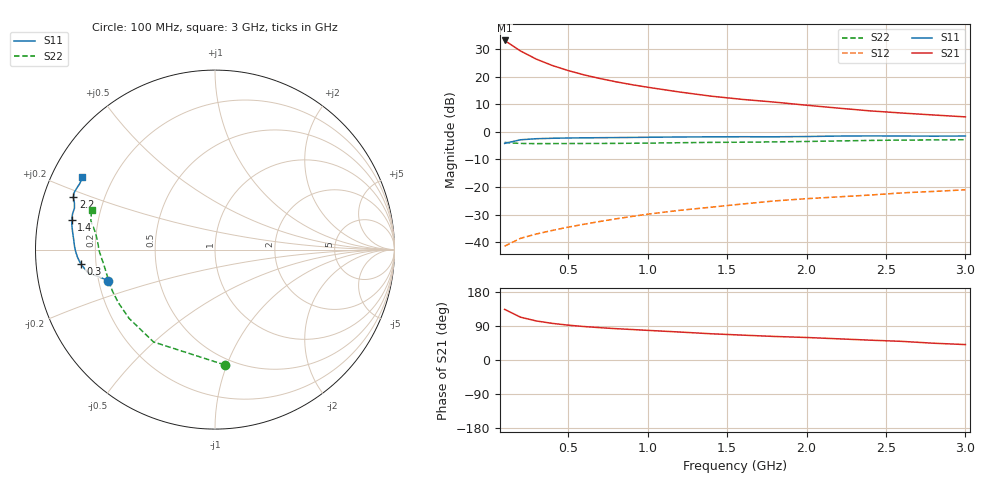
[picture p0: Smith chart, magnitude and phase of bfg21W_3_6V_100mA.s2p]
! Filename: 3_6100bfg21.001
! Title: BFG21W
! Bias: Vce=3.6V; Ic=100mA
! Company: Philips Semiconductors NL
! User: Quality&Reliability T&D
! Measure time: 10 Nov 1999 / 11:44:24
#  MHz  S  MA  R 50
! Freq  S11  S21  S12  S22  :
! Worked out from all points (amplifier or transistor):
!   20 points, 100 MHz to 3 GHz, reference 50 ohm
!   highest |S21| = 33.2 dB at 100 MHz (marker M1)
!   |S21| within 3 dB of that: start of sweep to 178.6 MHz
!   unconditionally stable (mu >= 1): 680.8 MHz to end of sweep
!   at 400 MHz: K = 0.87, MSG = 29.9 dB, |S12| = -35.8 dB
!   at 1.2 GHz: K = 1.06, MAG = 20.0 dB, |S12| = -28.5 dB
!   at 3 GHz: K = 1.05, MAG = 11.9 dB, |S12| = -21.0 dB
!   S11 on the Smith chart (normalised r, x): 100 MHz: 0.24, -0.13; 300 MHz: 0.14, -0.05; 1.4 GHz: 0.10, +0.10; 2.2 GHz: 0.09, +0.18; 3 GHz: 0.09, +0.25
100  0.6186 -163.8  45.7 133.7  0.00845 53.8  0.6444 -85.2
200  0.7205 -169.8  29.45 113.0  0.01173 50.4  0.618 -123.6
300  0.753 -174.0  20.91 103.0  0.01405 53.2  0.6132 -141.4
400  0.7671 -176.8  16.06 96.7  0.0163 56.8  0.6146 -151.3
500  0.7761 -179.1  12.99 92.0  0.01871 59.8  0.6161 -157.6
600  0.7819 179.0  10.85 88.3  0.02112 62.4  0.6172 -162.1
700  0.7859 177.3  9.315 85.3  0.02373 64.5  0.6181 -165.5
800  0.7898 175.8  8.131 82.7  0.02645 66.4  0.6198 -168.4
900  0.7946 174.2  7.209 80.5  0.02922 68.1  0.6229 -170.9
1000  0.7999 172.8  6.471 78.2  0.03218 69.1  0.6269 -173.1
1200  0.8093 170.2  5.308 73.8  0.03772 70.4  0.6369 -176.7
1400  0.8152 168.2  4.454 69.2  0.04309 71.0  0.646 -179.6
1600  0.8183 166.0  3.886 65.6  0.04931 71.5  0.6512 177.8
1800  0.8165 163.5  3.473 62.1  0.056 71.7  0.6591 175.1
2000  0.8251 161.7  3.054 59.4  0.06146 72.3  0.671 172.3
2200  0.8412 159.7  2.704 55.9  0.0663 72.1  0.6861 169.9
2400  0.8466 157.9  2.41 52.3  0.07155 71.4  0.701 168.2
2600  0.843 156.2  2.203 49.2  0.0783 70.4  0.7109 166.7
2800  0.8381 153.8  2.029 44.3  0.08325 68.7  0.7155 164.6
3000  0.8427 151.3  1.876 40.7  0.08907 67.8  0.7227 162.1
